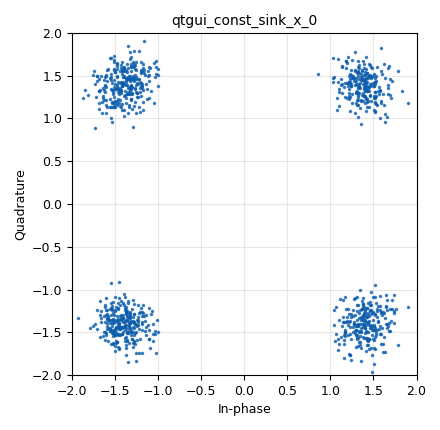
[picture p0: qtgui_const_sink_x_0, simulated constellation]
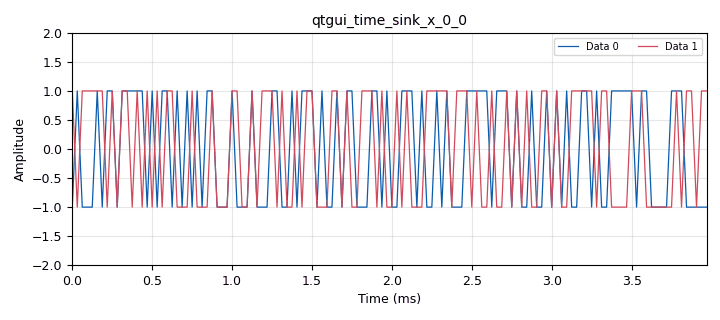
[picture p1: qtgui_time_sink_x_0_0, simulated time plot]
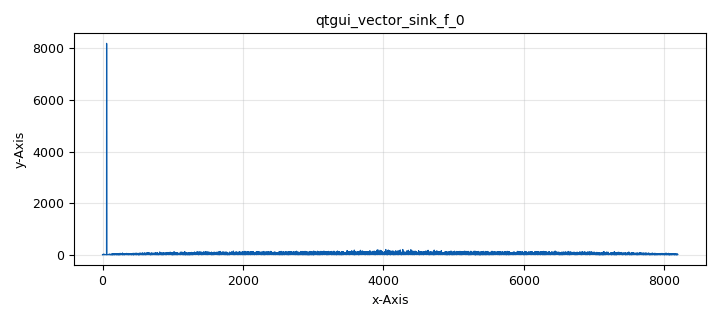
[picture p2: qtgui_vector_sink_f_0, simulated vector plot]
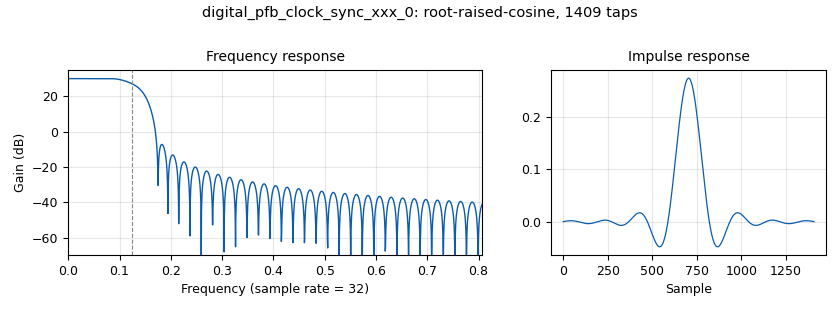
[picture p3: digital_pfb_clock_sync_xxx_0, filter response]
options:
  parameters:
    author: Barry Duggan
    category: Custom
    generate_options: qt_gui
    id: qpsk_stage6
    output_language: python
    title: qpsk_stage6
  states: {}

blocks:
- name: d
  id: variable
  parameters:
    value: '13'
  states: {}
- name: delay
  id: variable_qtgui_range
  parameters:
    comment: 0,3,1,1
    gui_hint: 0,3,1,1
    label: Delay
    start: '0'
    step: '1'
    stop: '200'
    value: '50'
  states: {}
- name: excess_bw
  id: variable
  parameters:
    value: '0.35'
  states: {}
- name: fftgr
  id: variable
  parameters:
    value: 2**d
  states: {}
- name: freq_offset
  id: variable_qtgui_range
  parameters:
    comment: 0,2,1,1
    gui_hint: 0,2,1,1
    label: 'Channel: Frequency Offset'
    start: '-0.1'
    step: '0.001'
    stop: '0.1'
    value: '0.025'
  states: {}
- name: nfilts
  id: variable
  parameters:
    value: '32'
  states: {}
- name: noise_volt
  id: variable_qtgui_range
  parameters:
    comment: 0,0,1,1
    gui_hint: 0,0,1,1
    label: 'Channel: Noise Voltage'
    start: '0'
    step: '0.01'
    stop: '1'
    value: '0.2'
  states: {}
- name: phase_bw
  id: variable
  parameters:
    value: '0.0628'
  states: {}
- name: qpsk
  id: variable_constellation_rect
  parameters:
    const_points: '[0.707+0.707j, -0.707+0.707j, -0.707-0.707j, 0.707-0.707j]'
    imag_sect: '2'
    real_sect: '2'
    rot_sym: '4'
    sym_map: '[0, 1, 2, 3]'
    w_imag_sect: '1'
    w_real_sect: '1'
  states: {}
- name: rrc_taps
  id: variable
  parameters:
    value: firdes.root_raised_cosine(nfilts, nfilts, 1.0/float(sps), 0.35, 11*sps*nfilts)
  states: {}
- name: samp_rate
  id: variable
  parameters:
    value: '32000'
  states: {}
- name: seqlen
  id: variable
  parameters:
    value: (2**d)-1
  states: {}
- name: sps
  id: variable
  parameters:
    value: '4'
  states: {}
- name: time_offset
  id: variable_qtgui_range
  parameters:
    comment: 0,1,1,1
    gui_hint: 0,1,1,1
    label: 'Channel: Timing Offset'
    start: '0.999'
    step: '0.0001'
    stop: '1.001'
    value: '1.0005'
  states: {}
- name: variable_adaptive_algorithm_0
  id: variable_adaptive_algorithm
  parameters:
    cons: qpsk
    modulus: '4'
    step_size: '.0001'
    type: cma
  states: {}
- name: variable_qtgui_label_0
  id: variable_qtgui_label
  parameters:
    label: Number_Sync
    type: raw
    value: '0'
  states: {}
- name: analog_const_source_x_0
  id: analog_const_source_x
  parameters:
    const: '0'
    type: byte
  states: {}
- name: blocks_abs_xx_0
  id: blocks_abs_xx
  parameters:
    type: float
    vlen: fftgr
  states: {}
- name: blocks_argmax_xx_0_0
  id: blocks_argmax_xx
  parameters:
    num_inputs: '1'
    type: float
    vlen: fftgr
  states: {}
- name: blocks_char_to_float_0
  id: blocks_char_to_float
  parameters:
    scale: '1.0'
  states: {}
- name: blocks_char_to_float_0_0
  id: blocks_char_to_float
  parameters:
    scale: '1'
  states: {state: disabled}
- name: blocks_char_to_float_0_0_0
  id: blocks_char_to_float
  parameters:
    scale: '1'
  states: {state: disabled}
- name: blocks_char_to_float_0_1
  id: blocks_char_to_float
  parameters:
    scale: '1.0'
  states: {}
- name: blocks_complex_to_real_0
  id: blocks_complex_to_real
  parameters:
    vlen: fftgr
  states: {}
- name: blocks_delay_0
  id: blocks_delay
  parameters:
    delay: int(delay)
    type: float
  states: {state: disabled}
- name: blocks_delay_0_0
  id: blocks_delay
  parameters:
    delay: int(delay)
    type: float
  states: {}
- name: blocks_max_xx_0
  id: blocks_max_xx
  parameters:
    type: float
    vlen: fftgr
    vlen_out: '1'
  states: {}
- name: blocks_multiply_conjugate_cc_0
  id: blocks_multiply_conjugate_cc
  parameters:
    vlen: fftgr
  states: {}
- name: blocks_multiply_const_xx_0
  id: blocks_multiply_const_xx
  parameters:
    const: 1/fftgr
    type: float
    vlen: fftgr
  states: {}
- name: blocks_null_sink_0
  id: blocks_null_sink
  parameters:
    type: short
  states: {}
- name: blocks_pack_k_bits_bb_0_0
  id: blocks_pack_k_bits_bb
  parameters:
    k: '8'
  states: {}
- name: blocks_stream_mux_0
  id: blocks_stream_mux
  parameters:
    lengths: (seqlen, 1)
    type: byte
  states: {}
- name: blocks_stream_to_vector_0
  id: blocks_stream_to_vector
  parameters:
    num_items: fftgr
    type: float
  states: {}
- name: blocks_stream_to_vector_1
  id: blocks_stream_to_vector
  parameters:
    num_items: fftgr
    type: float
  states: {}
- name: blocks_throttle2_0
  id: blocks_throttle2
  parameters:
    samples_per_second: samp_rate
    type: complex
  states: {}
- name: blocks_unpack_k_bits_bb_0
  id: blocks_unpack_k_bits_bb
  parameters:
    k: '2'
  states: {state: disabled}
- name: blocks_unpack_k_bits_bb_0_0
  id: blocks_unpack_k_bits_bb
  parameters:
    k: '8'
  states: {state: disabled}
- name: blocks_unpack_k_bits_bb_1
  id: blocks_unpack_k_bits_bb
  parameters:
    k: '2'
  states: {}
- name: channels_channel_model_0
  id: channels_channel_model
  parameters:
    comment: Epsilon is the time offset
    epsilon: time_offset
    freq_offset: freq_offset
    noise_voltage: noise_volt
    seed: '0'
    taps: '1'
  states: {}
- name: digital_constellation_decoder_cb_0
  id: digital_constellation_decoder_cb
  parameters:
    constellation: qpsk
  states: {}
- name: digital_constellation_modulator_0
  id: digital_constellation_modulator
  parameters:
    constellation: qpsk
    differential: 'True'
    excess_bw: excess_bw
    samples_per_symbol: sps
  states: {}
- name: digital_costas_loop_cc_0
  id: digital_costas_loop_cc
  parameters:
    order: '4'
    w: phase_bw
  states: {}
- name: digital_diff_decoder_bb_0
  id: digital_diff_decoder_bb
  parameters:
    coding: digital.DIFF_DIFFERENTIAL
    modulus: '4'
  states: {}
- name: digital_glfsr_source_x_0
  id: digital_glfsr_source_x
  parameters:
    degree: d
    mask: '0'
    repeat: 'True'
    seed: '1'
    type: byte
  states: {}
- name: digital_linear_equalizer_0
  id: digital_linear_equalizer
  parameters:
    alg: variable_adaptive_algorithm_0
    num_taps: '15'
    sps: '2'
  states: {}
- name: digital_map_bb_0
  id: digital_map_bb
  parameters:
    map: '[0,1,2,3]'
  states: {}
- name: digital_map_bb_0_0_0
  id: digital_map_bb
  parameters:
    map: '[1,-1]'
  states: {}
- name: digital_map_bb_0_0_0_0
  id: digital_map_bb
  parameters:
    map: '[1,-1]'
  states: {}
- name: digital_pfb_clock_sync_xxx_0
  id: digital_pfb_clock_sync_xxx
  parameters:
    filter_size: nfilts
    init_phase: nfilts/2
    loop_bw: phase_bw
    max_dev: '1.5'
    osps: '2'
    sps: sps
    taps: rrc_taps
    type: ccf
  states: {}
- name: fft_vxx_0
  id: fft_vxx
  parameters:
    fft_size: fftgr
    forward: 'True'
    shift: 'True'
    type: float
    window: '[]'
  states: {}
- name: fft_vxx_0_0
  id: fft_vxx
  parameters:
    fft_size: fftgr
    forward: 'True'
    shift: 'True'
    type: float
    window: '[]'
  states: {}
- name: fft_vxx_1
  id: fft_vxx
  parameters:
    fft_size: fftgr
    forward: 'False'
    shift: 'True'
    type: complex
    window: '[]'
  states: {}
- name: qtgui_const_sink_x_0
  id: qtgui_const_sink_x
  parameters:
    comment: 1,0,1,2
    gui_hint: 1,0,1,2
    name: ''
    size: '1024'
    type: complex
  states: {}
- name: qtgui_number_sink_0
  id: qtgui_number_sink
  parameters:
    graph_type: qtgui.NUM_GRAPH_NONE
    name: '"MAX"'
    type: float
  states: {}
- name: qtgui_number_sink_1
  id: qtgui_number_sink
  parameters:
    graph_type: qtgui.NUM_GRAPH_NONE
    name: '"Position"'
    type: short
  states: {}
- name: qtgui_time_sink_x_0
  id: qtgui_time_sink_x
  parameters:
    comment: 1,2,1,2
    gui_hint: 1,2,1,2
    label1: ''
    label2: ''
    name: ''
    nconnections: '2'
    size: '64'
    srate: samp_rate
    tr_mode: qtgui.TRIG_MODE_AUTO
    type: float
    ymax: '2'
    ymin: '-2'
  states: {state: disabled}
- name: qtgui_time_sink_x_0_0
  id: qtgui_time_sink_x
  parameters:
    comment: 1,2,1,2
    gui_hint: 1,2,1,2
    label1: ''
    label2: ''
    name: ''
    nconnections: '2'
    size: '128'
    srate: samp_rate
    tr_mode: qtgui.TRIG_MODE_AUTO
    type: float
    ymax: '2'
    ymin: '-2'
  states: {}
- name: qtgui_vector_sink_f_0
  id: qtgui_vector_sink_f
  parameters:
    autoscale: 'True'
    vlen: fftgr
    x_start: '0'
    x_step: '1.0'
  states: {}
- name: virtual_sink_0
  id: virtual_sink
  parameters:
    stream_id: r1
  states: {}
- name: virtual_sink_1
  id: virtual_sink
  parameters:
    stream_id: r2
  states: {}
- name: virtual_sink_2
  id: virtual_sink
  parameters:
    stream_id: t1
  states: {}
- name: virtual_sink_8
  id: virtual_sink
  parameters:
    stream_id: a1
  states: {}
- name: virtual_source_0
  id: virtual_source
  parameters:
    stream_id: r1
  states: {}
- name: virtual_source_1
  id: virtual_source
  parameters:
    stream_id: r2
  states: {state: disabled}
- name: virtual_source_2
  id: virtual_source
  parameters:
    stream_id: t1
  states: {state: disabled}
- name: virtual_source_5
  id: virtual_source
  parameters:
    stream_id: r2
  states: {}
- name: virtual_source_7
  id: virtual_source
  parameters:
    stream_id: t1
  states: {}
- name: virtual_source_8
  id: virtual_source
  parameters:
    stream_id: a1
  states: {}

connections:
- [analog_const_source_x_0, '0', blocks_stream_mux_0, '1']
- [blocks_abs_xx_0, '0', qtgui_vector_sink_f_0, '0']
- [blocks_abs_xx_0, '0', virtual_sink_8, '0']
- [blocks_argmax_xx_0_0, '0', qtgui_number_sink_1, '0']
- [blocks_argmax_xx_0_0, '1', blocks_null_sink_0, '0']
- [blocks_char_to_float_0, '0', blocks_stream_to_vector_0, '0']
- [blocks_char_to_float_0, '0', qtgui_time_sink_x_0_0, '0']
- [blocks_char_to_float_0_0, '0', qtgui_time_sink_x_0, '0']
- [blocks_char_to_float_0_0_0, '0', blocks_delay_0, '0']
- [blocks_char_to_float_0_1, '0', blocks_delay_0_0, '0']
- [blocks_char_to_float_0_1, '0', blocks_stream_to_vector_1, '0']
- [blocks_complex_to_real_0, '0', blocks_multiply_const_xx_0, '0']
- [blocks_delay_0, '0', qtgui_time_sink_x_0, '1']
- [blocks_delay_0_0, '0', qtgui_time_sink_x_0_0, '1']
- [blocks_max_xx_0, '0', qtgui_number_sink_0, '0']
- [blocks_multiply_conjugate_cc_0, '0', fft_vxx_1, '0']
- [blocks_multiply_const_xx_0, '0', blocks_abs_xx_0, '0']
- [blocks_pack_k_bits_bb_0_0, '0', digital_constellation_modulator_0, '0']
- [blocks_stream_mux_0, '0', blocks_pack_k_bits_bb_0_0, '0']
- [blocks_stream_mux_0, '0', virtual_sink_2, '0']
- [blocks_stream_to_vector_0, '0', fft_vxx_0, '0']
- [blocks_stream_to_vector_1, '0', fft_vxx_0_0, '0']
- [blocks_throttle2_0, '0', channels_channel_model_0, '0']
- [blocks_unpack_k_bits_bb_0, '0', blocks_char_to_float_0_0, '0']
- [blocks_unpack_k_bits_bb_0_0, '0', blocks_char_to_float_0_0_0, '0']
- [blocks_unpack_k_bits_bb_1, '0', digital_map_bb_0_0_0, '0']
- [channels_channel_model_0, '0', digital_pfb_clock_sync_xxx_0, '0']
- [digital_constellation_decoder_cb_0, '0', digital_diff_decoder_bb_0, '0']
- [digital_constellation_modulator_0, '0', blocks_throttle2_0, '0']
- [digital_costas_loop_cc_0, '0', digital_constellation_decoder_cb_0, '0']
- [digital_costas_loop_cc_0, '0', qtgui_const_sink_x_0, '0']
- [digital_diff_decoder_bb_0, '0', digital_map_bb_0, '0']
- [digital_glfsr_source_x_0, '0', blocks_stream_mux_0, '0']
- [digital_linear_equalizer_0, '0', virtual_sink_0, '0']
- [digital_map_bb_0, '0', virtual_sink_1, '0']
- [digital_map_bb_0_0_0, '0', blocks_char_to_float_0, '0']
- [digital_map_bb_0_0_0_0, '0', blocks_char_to_float_0_1, '0']
- [digital_pfb_clock_sync_xxx_0, '0', digital_linear_equalizer_0, '0']
- [fft_vxx_0, '0', blocks_multiply_conjugate_cc_0, '0']
- [fft_vxx_0_0, '0', blocks_multiply_conjugate_cc_0, '1']
- [fft_vxx_1, '0', blocks_complex_to_real_0, '0']
- [virtual_source_0, '0', digital_costas_loop_cc_0, '0']
- [virtual_source_1, '0', blocks_unpack_k_bits_bb_0, '0']
- [virtual_source_2, '0', blocks_unpack_k_bits_bb_0_0, '0']
- [virtual_source_5, '0', blocks_unpack_k_bits_bb_1, '0']
- [virtual_source_7, '0', digital_map_bb_0_0_0_0, '0']
- [virtual_source_8, '0', blocks_argmax_xx_0_0, '0']
- [virtual_source_8, '0', blocks_max_xx_0, '0']

metadata:
  file_format: 1
  grc_version: 3.10.8.0
